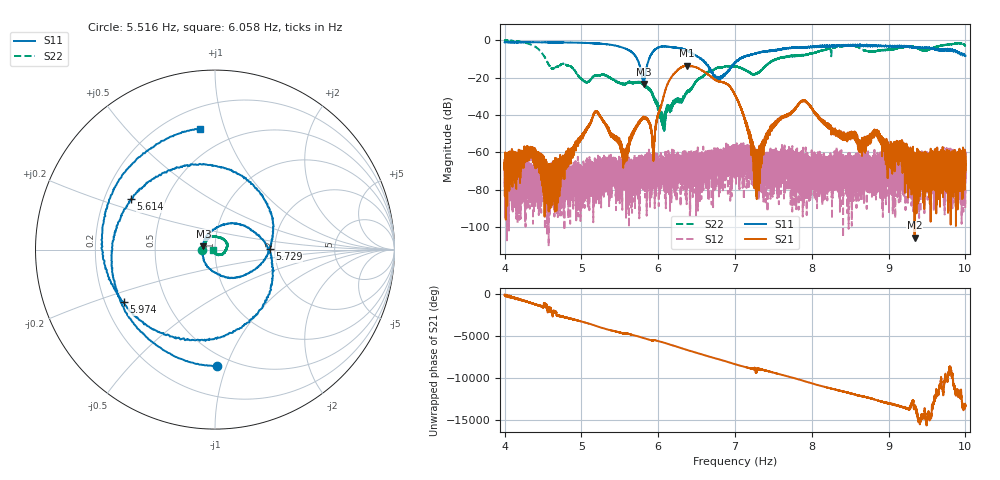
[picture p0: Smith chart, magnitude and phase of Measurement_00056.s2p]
!Created with skrf (http://scikit-rf.org).
# Hz S RI R 50.0
!freq ReS11 ImS11 ReS21 ImS21 ReS12 ImS12 ReS22 ImS22
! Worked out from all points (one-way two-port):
!   14001 points, 4 Hz to 10 Hz, reference 50 ohm
!   highest |S21| = -13.70 dB at 6.369 Hz (marker M1); lowest = -105.7 dB at 9.338 Hz (marker M2)
!   lowest |S11| = -23.4 dB at 5.811 Hz (marker M3), VSWR 1.15, Z = 43.9 + j1.66 ohm
!   |S11| at or under -10 dB: 5.725 Hz to 5.881 Hz (156 mHz wide, 2.69 % of centre); 6.561 Hz to 7.059 Hz (497.4 mHz wide, 7.3 % of centre); 7.058909 Hz to 7.060148 Hz (1.239 mHz wide, 0.0175 % of centre) (the widest 3 of 10)
!   |S22| runs from -48.5 to -0.2 dB; largest |S21 - S12| = 0.21
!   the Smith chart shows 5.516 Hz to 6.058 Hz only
!   S11 on the Smith chart (normalised r, x): 5.516 Hz: 0.41, -0.93; 5.614 Hz: 0.31, +0.25; 5.729 Hz: 1.88, +0.00; 5.974 Hz: 0.28, -0.25; 6.058 Hz: 0.33, +0.83
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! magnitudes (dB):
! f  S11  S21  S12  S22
! 4 Hz  -1.1  -68.8  -83.4  -0.2
! 4.349 Hz  -1.1  -61.7  -70.7  -2.5
! 4.578 Hz  -1.2  -82.2  -75.8  -13.2
! 5 Hz  -1.4  -52.5  -71.3  -20.7
! 5.198 Hz  -1.8  -38.3  -67.8  -18.7
! 5.516 Hz  -3.7  -57.6  -66.5  -23.1
! 5.614 Hz  -5.3  -55.5  -75.0  -22.3
! 5.729 Hz  -10.3  -45.8  -69.0  -22.7
! 5.811 Hz  -23.4  -41.4  -70.2  -23.8
! 5.93 Hz  -6.3  -58.2  -63.7  -29.9
! 5.974 Hz  -4.6  -44.4  -63.4  -34.3
! 6 Hz  -4.0  -39.5  -69.7  -35.1
! 6.058 Hz  -3.4  -32.1  -66.4  -41.0
! 6.369 Hz  -5.4  -13.7  -66.2  -27.9
! 6.775 Hz  -20.8  -21.9  -60.1  -14.8
! 7 Hz  -12.1  -29.3  -62.2  -14.0
! 7.285 Hz  -6.9  -65.0  -62.1  -17.8
! 7.556 Hz  -5.2  -43.9  -59.6  -10.0
! 8 Hz  -3.8  -36.4  -63.3  -7.0
! 9 Hz  -3.3  -58.7  -73.0  -5.1
! 9.338 Hz  -4.0  -105.7  -65.9  -3.8
! 10 Hz  -8.3  -70.6  -59.6  -3.1
